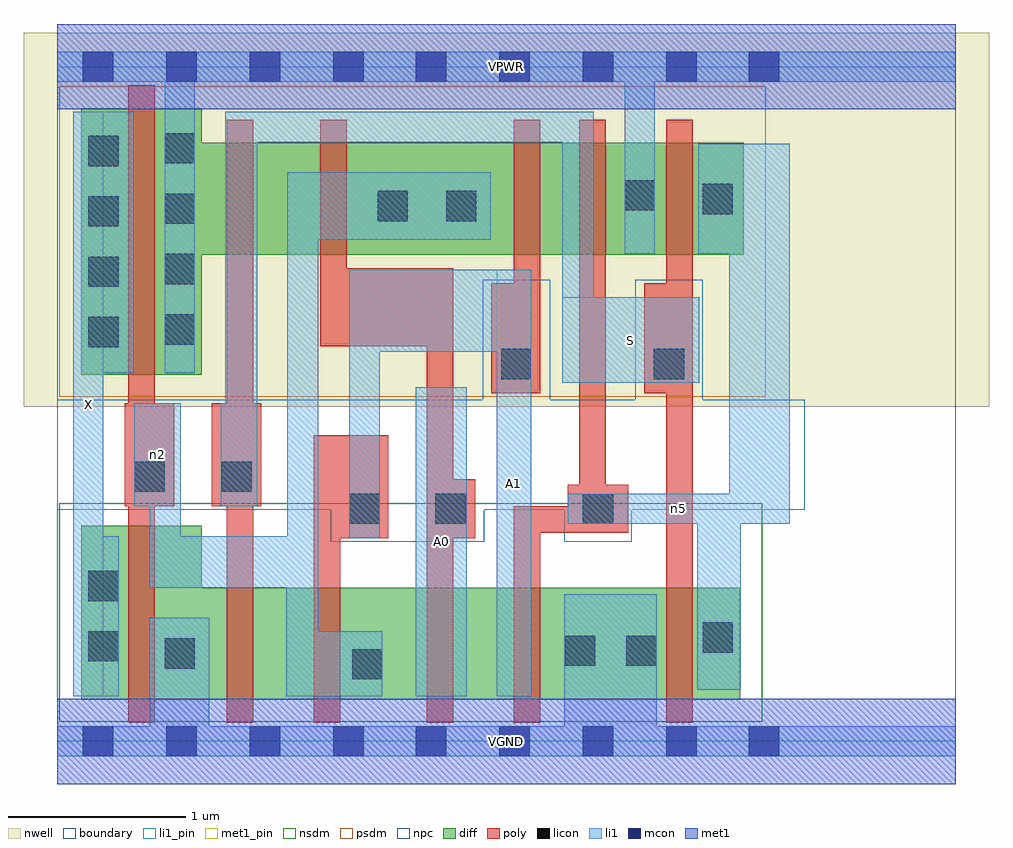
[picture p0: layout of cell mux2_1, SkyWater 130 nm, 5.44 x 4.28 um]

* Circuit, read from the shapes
.subckt mux2_1 A0 A1 S VGND VPWR X n2 n5
XM1 VGND n2 X VSUBS sky130_fd_pr__nfet_01v8 w=0.98 l=0.15
XM2 n1 S VGND VSUBS sky130_fd_pr__nfet_01v8 w=0.63 l=0.15
XM3 n2 A1 n1 VSUBS sky130_fd_pr__nfet_01v8 w=0.63 l=0.15
XM4 n3 A0 n2 VSUBS sky130_fd_pr__nfet_01v8 w=0.63 l=0.15
XM5 VGND n5 n3 VSUBS sky130_fd_pr__nfet_01v8 w=0.63 l=0.15
XM6 n5 S VGND VSUBS sky130_fd_pr__nfet_01v8 w=0.63 l=0.15
XM7 VPWR n2 X n4 sky130_fd_pr__pfet_01v8 w=1.5 l=0.15
XM8 n6 S VPWR n4 sky130_fd_pr__pfet_01v8 w=0.63 l=0.15
XM9 n2 A0 n6 n4 sky130_fd_pr__pfet_01v8 w=0.63 l=0.15
XM10 n7 A1 n2 n4 sky130_fd_pr__pfet_01v8 w=0.63 l=0.15
XM11 VPWR n5 n7 n4 sky130_fd_pr__pfet_01v8 w=0.63 l=0.15
XM12 n5 S VPWR n4 sky130_fd_pr__pfet_01v8 w=0.63 l=0.15
.ends

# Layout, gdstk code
import gdstk
lib = gdstk.Library(unit=1e-6, precision=1e-09)
def R(c, l, rs):  # rectangles x0, y0, x1, y1
    for r in rs: c.add(gdstk.rectangle(r[:2], r[2:], *l))
def A(c, l, x, y, w, h, nx, ny, dx, dy):  # array of equal rectangles
    R(c, l, [(x+i*dx, y+j*dy, x+i*dx+w, y+j*dy+h) for i in range(nx) for j in range(ny)])
nwell = (64, 20)
diff = (65, 20)
poly = (66, 20)
licon = (66, 44)
li1_pin = (67, 16)
li1 = (67, 20)
mcon = (67, 44)
met1_pin = (68, 16)
met1 = (68, 20)
nsdm = (93, 44)
psdm = (94, 20)
npc = (95, 20)
boundary = (235, 4)

mux2_1 = lib.new_cell('mux2_1')
R(mux2_1, nwell, [(-0.19,1.885,5.25,3.99), (0,1.885,5.06,3.99)])
R(mux2_1, diff, [(0.135,0.235,3.845,0.865), (0.135,0.235,0.815,1.215), (0.135,2.065,0.815,3.565), (0.135,2.74,3.865,3.37)])
R(mux2_1, poly, [(0.4,0.105,0.55,3.695), (0.955,0.105,1.105,3.5), (1.445,0.105,1.595,1.725), (2.08,0.105,2.23,2.665), (2.57,0.105,2.72,1.325), (3.43,0.105,3.58,3.5), (1.445,1.145,1.865,1.725), (2.08,1.145,2.355,1.475), (2.57,1.175,3.215,1.325), (2.875,1.175,3.215,1.445), (2.94,1.175,3.09,3.5), (0.38,1.325,0.66,1.905), (0.87,1.325,1.15,1.905), (2.445,1.96,2.72,2.58), (2.57,1.96,2.72,3.5), (3.305,1.96,3.58,2.58), (1.48,2.225,1.63,3.5), (1.48,2.225,2.23,2.665)])
A(mux2_1, licon, 0.175, 2.22, 0.17, 0.17, 1, 4, 0, 0.34)
A(mux2_1, licon, 0.605, 2.235, 0.17, 0.17, 1, 4, 0, 0.34)
R(mux2_1, licon, [(1.66,0.35,1.83,0.52), (0.605,0.41,0.775,0.58), (2.86,0.425,3.03,0.595), (3.205,0.425,3.375,0.595), (0.175,0.45,0.345,0.62), (3.635,0.5,3.805,0.67), (0.175,0.79,0.345,0.96), (1.645,1.225,1.815,1.395), (2.13,1.225,2.3,1.395), (2.96,1.225,3.13,1.395), (0.435,1.405,0.605,1.575), (0.925,1.405,1.095,1.575), (2.5,2.04,2.67,2.21), (3.36,2.04,3.53,2.21), (1.805,2.93,1.975,3.1), (2.19,2.93,2.36,3.1), (3.635,2.97,3.805,3.14), (3.195,2.99,3.365,3.16)])
R(mux2_1, li1_pin, [(0.09,0.255,0.26,3.545), (2.02,0.255,2.305,1.995), (2.475,0.255,2.67,2.655), (2.845,2.02,3.615,2.5)])
R(mux2_1, li1, [(0,-0.085,5.06,0.085), (0.52,-0.085,0.855,0.695), (2.855,-0.085,3.375,0.83), (0.09,0.255,0.26,3.545), (0.09,0.255,0.345,1.155), (1.29,0.255,1.83,0.62), (1.29,0.255,1.47,1.155), (1.295,0.255,1.47,3.205), (2.02,0.255,2.305,1.995), (2.475,0.255,2.67,2.655), (3.605,0.29,3.85,1.395), (0.52,0.865,1.47,1.155), (0.52,0.865,0.695,1.905), (1.645,1.145,1.815,2.655), (2.875,1.225,4.125,1.395), (3.785,1.225,4.125,3.365), (0.435,1.325,0.695,1.905), (0.92,1.325,1.125,1.905), (0.945,1.325,1.125,3.545), (2.845,2.02,3.02,3.545), (2.845,2.02,3.615,2.5), (0.09,2.075,0.43,3.545), (0.605,2.075,0.775,3.885), (1.645,2.195,2.67,2.655), (3.195,2.745,3.365,3.885), (3.61,2.745,4.125,3.365), (1.295,2.825,2.44,3.205), (0.945,3.375,3.02,3.545), (0,3.715,5.06,3.885)])
A(mux2_1, mcon, 0.145, -0.085, 0.17, 0.17, 4, 2, 0.47, 3.8)
A(mux2_1, mcon, 2.02, -0.085, 0.17, 0.17, 4, 2, 0.47, 3.8)
R(mux2_1, mcon, [(3.895,-0.085,4.065,0.085), (3.895,3.715,4.065,3.885)])
R(mux2_1, met1_pin, [(0,-0.24,5.06,0.24), (0,3.56,5.06,4.04)])
R(mux2_1, met1, [(0,-0.24,5.06,0.24), (0,3.56,5.06,4.04)])
R(mux2_1, nsdm, [(0.01,0.11,3.97,1.34)])
R(mux2_1, psdm, [(0.01,1.94,3.99,3.69)])
R(mux2_1, npc, [(1.54,1.125,2.405,1.925), (2.855,1.125,3.235,1.925), (0,1.305,4.21,1.925), (2.395,1.305,2.775,2.6), (3.255,1.305,3.635,2.6)])
R(mux2_1, boundary, [(0,0,5.06,3.8)])
mux2_1.add(gdstk.Label('A0', (2.162,1.125), layer=67, texttype=5))
mux2_1.add(gdstk.Label('A1', (2.572,1.455), layer=67, texttype=5))
mux2_1.add(gdstk.Label('S', (3.23,2.26), layer=67, texttype=5))
mux2_1.add(gdstk.Label('X', (0.175,1.9), layer=67, texttype=5))
mux2_1.add(gdstk.Label('n2', (0.565,1.615), layer=67, texttype=5))
mux2_1.add(gdstk.Label('n5', (3.5,1.31), layer=67, texttype=5))
mux2_1.add(gdstk.Label('VPWR', (2.53,3.8), layer=68, texttype=5))
mux2_1.add(gdstk.Label('VGND', (2.53,0), layer=68, texttype=5))
mux2_1.add(gdstk.Label('A0', (2.162,1.125), layer=67, texttype=16))
mux2_1.add(gdstk.Label('A1', (2.572,1.455), layer=67, texttype=16))
mux2_1.add(gdstk.Label('S', (3.23,2.26), layer=67, texttype=16))
mux2_1.add(gdstk.Label('X', (0.175,1.9), layer=67, texttype=16))
mux2_1.add(gdstk.Label('VPWR', (2.53,3.8), layer=68, texttype=16))
mux2_1.add(gdstk.Label('VGND', (2.53,0), layer=68, texttype=16))

lib.write_gds('mux2_1.gds')
